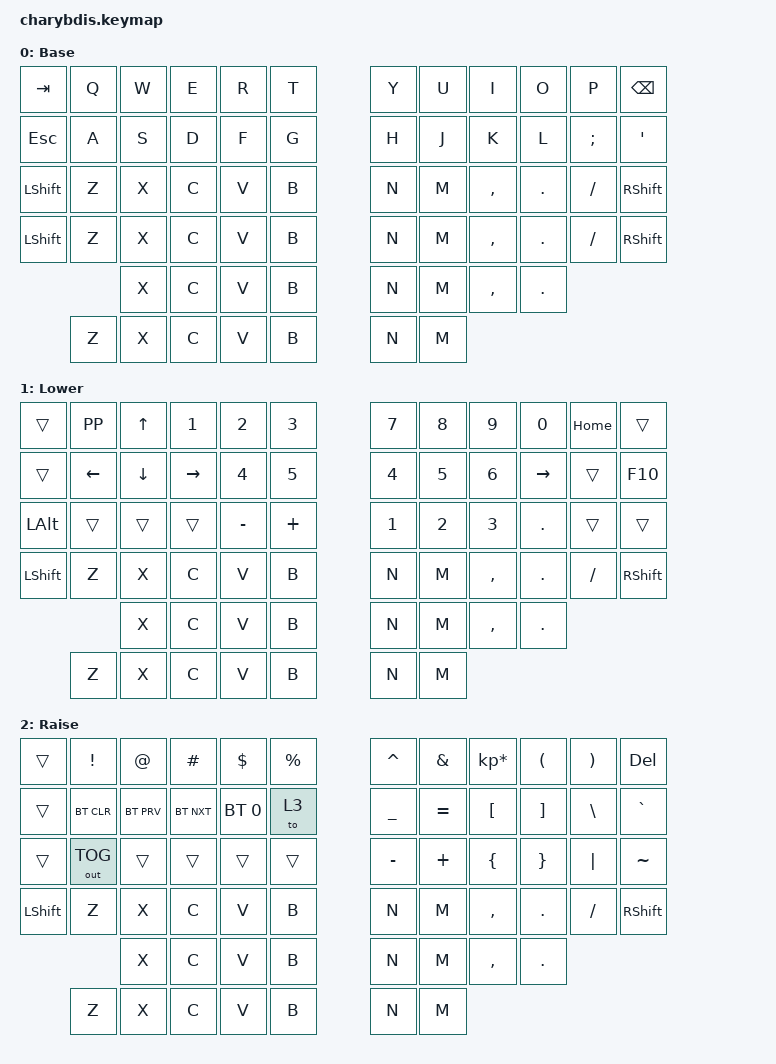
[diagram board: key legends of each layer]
#include <behaviors.dtsi>
#include <dt-bindings/zmk/keys.h>
#include <dt-bindings/zmk/bt.h>
#include <dt-bindings/zmk/mouse.h>
#include <dt-bindings/zmk/outputs.h>

/ {

  keymap {
    compatible = "zmk,keymap";

        Base {
            label = "Base";
            bindings = <
    &kp TAB     &kp Q   &kp W   &kp E       &kp R   &kp T                 &kp Y   &kp U      &kp I    &kp O     &kp P    &kp BSPC
    &kp ESC     &kp A   &kp S   &kp D       &kp F   &kp G                 &kp H   &kp J      &kp K    &kp L  &kp SEMI    &kp APOS
    &kp LSHFT   &kp Z   &kp X   &kp C       &kp V   &kp B                 &kp N   &kp M  &kp COMMA  &kp DOT  &kp FSLH  &kp RSHIFT
    &kp LSHFT   &kp Z   &kp X   &kp C       &kp V   &kp B                 &kp N   &kp M  &kp COMMA  &kp DOT  &kp FSLH  &kp RSHIFT
                        &kp X   &kp C       &kp V   &kp B                 &kp N   &kp M  &kp COMMA  &kp DOT  
                &kp Z   &kp X   &kp C       &kp V   &kp B                 &kp N   &kp M   
            >;
            trackball-bindings = <&tmv_coarse>;
        };

        Lower {
            label = "Lower";
            bindings = <
    &trans          &kp K_PP    &kp UP      &kp N1      &kp N2      &kp N3               &kp N7     &kp N8    &kp N9     &kp N0  &kp HOME   &trans
    &trans          &kp LEFT    &kp DOWN    &kp RIGHT   &kp N4      &kp N5               &kp N4     &kp N5    &kp N6  &kp RIGHT    &trans  &kp F10
    &kp LEFT_ALT    &trans      &trans      &trans      &kp MINUS   &kp PLUS             &kp N1     &kp N2    &kp N3    &kp DOT    &trans   &trans
    &kp LSHFT   &kp Z   &kp X   &kp C       &kp V   &kp B                 &kp N   &kp M  &kp COMMA  &kp DOT  &kp FSLH  &kp RSHIFT
                        &kp X   &kp C       &kp V   &kp B                 &kp N   &kp M  &kp COMMA  &kp DOT  
                &kp Z   &kp X   &kp C       &kp V   &kp B                 &kp N   &kp M    
            >;
            trackball-bindings = <&tmv_fine>;
        };

        Raise {
            label = "Raise";
            bindings = <
    &trans  &kp EXCL        &kp AT      &kp HASH    &kp DLLR        &kp PRCNT         &kp CARET   &kp AMPS  &kp KP_MULTIPLY  &kp LPAR  &kp RPAR    &kp DEL
    &trans  &bt BT_CLR      &bt BT_PRV  &bt BT_NXT  &bt BT_SEL 0    &to 3             &kp UNDER  &kp EQUAL         &kp LBKT  &kp RBKT  &kp BSLH  &kp GRAVE
    &trans  &out OUT_TOG    &trans      &trans      &trans          &trans            &kp MINUS   &kp PLUS         &kp LBRC  &kp RBRC  &kp PIPE  &kp TILDE
                  &kp LSHFT   &kp Z   &kp X   &kp C       &kp V   &kp B                 &kp N   &kp M  &kp COMMA  &kp DOT  &kp FSLH  &kp RSHIFT
                        &kp X   &kp C       &kp V   &kp B                 &kp N   &kp M  &kp COMMA  &kp DOT  
                &kp Z   &kp X   &kp C       &kp V   &kp B                 &kp N   &kp M    
            >;
            trackball-bindings = <&tsl_fine>;
        };
    };
};
